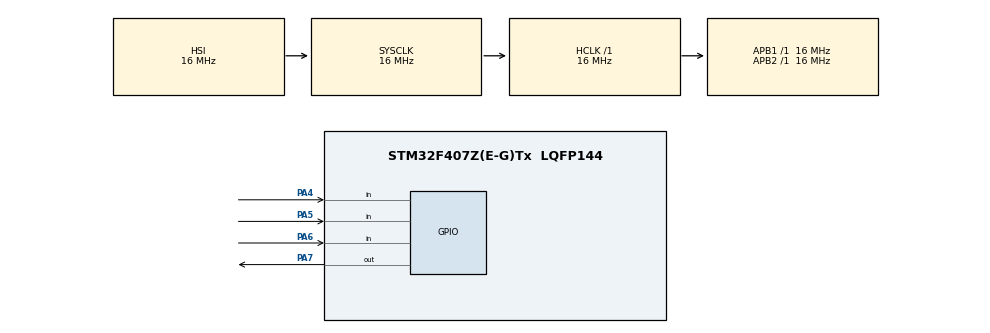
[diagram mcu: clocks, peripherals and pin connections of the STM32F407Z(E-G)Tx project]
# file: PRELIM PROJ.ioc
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Mcu.Family=STM32F4
Mcu.Name=STM32F407Z(E-G)Tx
Mcu.Package=LQFP144
NVIC.PriorityGroup=NVIC_PRIORITYGROUP_4
PA4.GPIO_PuPd=GPIO_PULLUP
PA4.Signal=GPIO_Input
PA5.GPIO_PuPd=GPIO_PULLUP
PA5.Signal=GPIO_Input
PA6.GPIO_PuPd=GPIO_PULLUP
PA6.Signal=GPIO_Input
PA7.Signal=GPIO_Output
ProjectManager.HeapSize=0x200
ProjectManager.StackSize=0x400
ProjectManager.TargetToolchain=STM32CubeIDE
RCC.AHBFreq_Value=16000000
RCC.APB1Freq_Value=16000000
RCC.APB2Freq_Value=16000000
RCC.CortexFreq_Value=16000000
RCC.HSE_VALUE=25000000
RCC.HSI_VALUE=16000000
RCC.LSE_VALUE=32768
RCC.SYSCLKFreq_VALUE=16000000
RCC.VCOOutputFreq_Value=192000000
board=custom

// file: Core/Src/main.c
	/* USER CODE BEGIN Header */
/**
  ******************************************************************************
  * @file           : main.c
  * @brief          : Main program body
  ******************************************************************************
  * @attention
  *
  * Copyright (c) 2026 STMicroelectronics.
  * All rights reserved.
  *
  * This software is licensed under terms that can be found in the LICENSE file
  * in the root directory of this software component.
  * If no LICENSE file comes with this software, it is provided AS-IS.
  *
  ******************************************************************************
  */
/* USER CODE END Header */

#include "main.h"

/* USER CODE BEGIN PV */
unsigned int current_period = 2000; // Starting period: 2000 microseconds = 500Hz tone

uint8_t prev_sw1 = 1; // 1 = unpressed (Pull-up resistors: HIGH when not pressed)
uint8_t prev_sw2 = 1;
uint8_t prev_sw3 = 1;
/* USER CODE END PV */

void SystemClock_Config(void);
static void MX_GPIO_Init(void);
/* USER CODE BEGIN PFP */
void delay_us(uint32_t usecs);
void play_tone(unsigned int duration_ms);
void update_buttons(void);
/* USER CODE END PFP */

/* USER CODE BEGIN 0 */
void delay_us(uint32_t usecs)
{
    // DWT is already initialized in main() — just use the counter here
    uint32_t cycles = usecs * (SystemCoreClock / 1000000);
    uint32_t start = DWT->CYCCNT;

    while ((DWT->CYCCNT - start) < cycles)
    {
        // Hardware counter does the work — no CPU spinning needed
    }
}
/* USER CODE END 0 */

int main(void)
{

  /* MCU Configuration--------------------------------------------------------*/
  HAL_Init();

  /* Configure the system clock */
  SystemClock_Config();

  /* Initialize all configured peripherals */
  MX_GPIO_Init();

  /* USER CODE BEGIN 2 */
  // Initialize DWT cycle counter ONCE at startup for accurate delay_us()
  CoreDebug->DEMCR |= CoreDebug_DEMCR_TRCENA_Msk;  // Enable trace
  DWT->CYCCNT = 0;                                   // Reset counter
  DWT->CTRL   |= DWT_CTRL_CYCCNTENA_Msk;            // Enable counter
  /* USER CODE END 2 */

  /* Infinite loop */
  /* USER CODE BEGIN WHILE */
  while (1)
  {
    update_buttons(); // Continuously check buttons and respond
    /* USER CODE END WHILE */

  }
}

void SystemClock_Config(void)
{
  RCC_OscInitTypeDef RCC_OscInitStruct = {0};
  RCC_ClkInitTypeDef RCC_ClkInitStruct = {0};

  /** Configure the main internal regulator output voltage */
  __HAL_RCC_PWR_CLK_ENABLE();
  __HAL_PWR_VOLTAGESCALING_CONFIG(PWR_REGULATOR_VOLTAGE_SCALE1);

  /** Initializes the RCC Oscillators according to the specified parameters
  * in the RCC_OscInitTypeDef structure. */
  RCC_OscInitStruct.OscillatorType = RCC_OSCILLATORTYPE_HSI;
  RCC_OscInitStruct.HSIState = RCC_HSI_ON;
  RCC_OscInitStruct.HSICalibrationValue = RCC_HSICALIBRATION_DEFAULT;
  RCC_OscInitStruct.PLL.PLLState = RCC_PLL_NONE;
  if (HAL_RCC_OscConfig(&RCC_OscInitStruct) != HAL_OK)
  {
    Error_Handler();
  }

  /** Initializes the CPU, AHB and APB buses clocks */
  RCC_ClkInitStruct.ClockType = RCC_CLOCKTYPE_HCLK | RCC_CLOCKTYPE_SYSCLK
                              | RCC_CLOCKTYPE_PCLK1 | RCC_CLOCKTYPE_PCLK2;
  RCC_ClkInitStruct.SYSCLKSource = RCC_SYSCLKSOURCE_HSI;
  RCC_ClkInitStruct.AHBCLKDivider = RCC_SYSCLK_DIV1;
  RCC_ClkInitStruct.APB1CLKDivider = RCC_HCLK_DIV1;
  RCC_ClkInitStruct.APB2CLKDivider = RCC_HCLK_DIV1;

  if (HAL_RCC_ClockConfig(&RCC_ClkInitStruct, FLASH_LATENCY_0) != HAL_OK)
  {
    Error_Handler();
  }
}

static void MX_GPIO_Init(void)
{
  GPIO_InitTypeDef GPIO_InitStruct = {0};

  /* GPIO Ports Clock Enable */
  __HAL_RCC_GPIOA_CLK_ENABLE();

  /*Configure GPIO pin Output Level */
  HAL_GPIO_WritePin(GPIOA, GPIO_PIN_7, GPIO_PIN_RESET);

  /*Configure GPIO pins : PA4 PA5 PA6 (Switches - Input with Pull-up) */
  GPIO_InitStruct.Pin = GPIO_PIN_4 | GPIO_PIN_5 | GPIO_PIN_6;
  GPIO_InitStruct.Mode = GPIO_MODE_INPUT;
  GPIO_InitStruct.Pull = GPIO_PULLUP;
  HAL_GPIO_Init(GPIOA, &GPIO_InitStruct);

  /*Configure GPIO pin : PA7 (Buzzer - Output) */
  GPIO_InitStruct.Pin = GPIO_PIN_7;
  GPIO_InitStruct.Mode = GPIO_MODE_OUTPUT_PP;
  GPIO_InitStruct.Pull = GPIO_NOPULL;
  GPIO_InitStruct.Speed = GPIO_SPEED_FREQ_LOW;
  HAL_GPIO_Init(GPIOA, &GPIO_InitStruct);

}

/* USER CODE BEGIN 4 */

// Generates a square wave on PA7 for the given duration
void play_tone(unsigned int duration_ms) {
    unsigned int delay_val = current_period / 2;          // Half-period for toggle timing
    unsigned int total_duration_us = duration_ms * 1000;  // Convert ms to us
    unsigned int num_toggles = total_duration_us / delay_val; // How many toggles needed

    for (unsigned int i = 0; i < num_toggles; i++) {
        HAL_GPIO_TogglePin(GPIOA, GPIO_PIN_7); // Toggle buzzer pin
        delay_us(delay_val);                   // Wait half a period
    }

    // Make sure buzzer pin is LOW after tone ends (no DC offset)
    HAL_GPIO_WritePin(GPIOA, GPIO_PIN_7, GPIO_PIN_RESET);
}

// Reads button states and responds accordingly
void update_buttons(void) {
    uint8_t curr_sw1 = HAL_GPIO_ReadPin(GPIOA, GPIO_PIN_4); // SW1 - Higher pitch
    uint8_t curr_sw2 = HAL_GPIO_ReadPin(GPIOA, GPIO_PIN_5); // SW2 - Play tone
    uint8_t curr_sw3 = HAL_GPIO_ReadPin(GPIOA, GPIO_PIN_6); // SW3 - Lower pitch

    // SW1: Decrease period = Higher pitch (no upper frequency limit)
    if (curr_sw1 == 0 && prev_sw1 == 1) {
        if (current_period >= 100) {   // Only prevents unsigned integer underflow
            current_period -= 100;
        }
    }

    // SW3: Increase period = Lower pitch (no lower frequency limit)
    if (curr_sw3 == 0 && prev_sw3 == 1) {
    	if (current_period < 10000) {
        current_period += 100;
    }

    }

    // SW2: Play tone WHILE button is held down (level-triggered)
    if (curr_sw2 == 0) {
        play_tone(50); // 50ms burst continuously while held
    }

    // Save current states for next loop iteration
    prev_sw1 = curr_sw1;
    prev_sw2 = curr_sw2;
    prev_sw3 = curr_sw3;
}
/* USER CODE END 4 */

void Error_Handler(void)
{
  __disable_irq();
  while (1)
  {
  }
}
